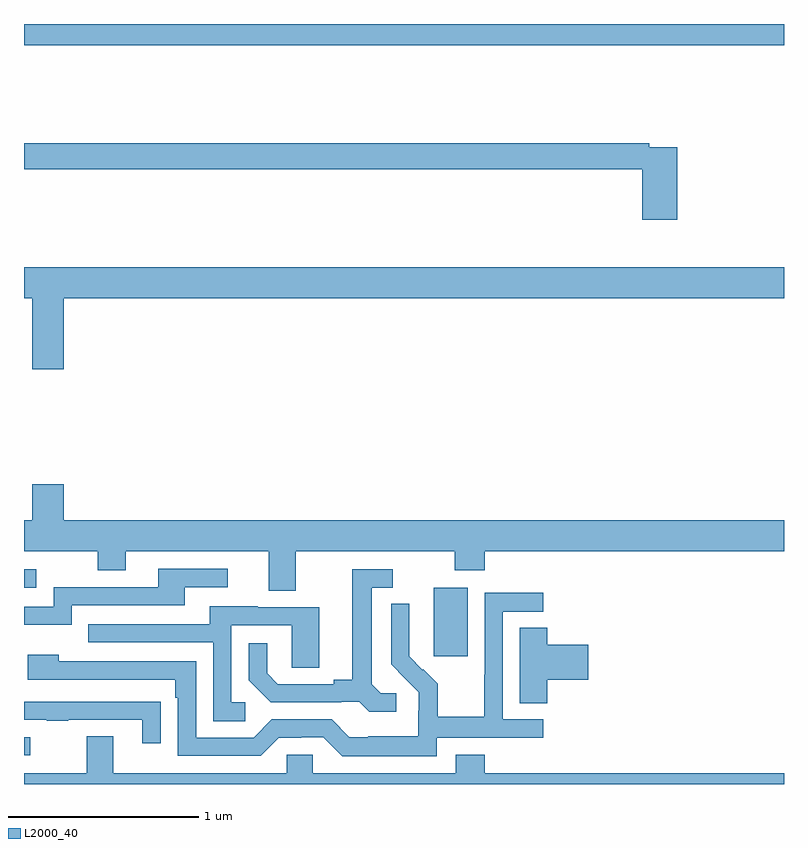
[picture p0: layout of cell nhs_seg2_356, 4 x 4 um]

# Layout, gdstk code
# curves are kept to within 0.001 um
import gdstk
lib = gdstk.Library(unit=1e-6, precision=1e-09)
def R(c, l, rs):  # rectangles x0, y0, x1, y1
    for r in rs: c.add(gdstk.rectangle(r[:2], r[2:], *l))
def P(c, l, *ps):  # polygons
    for p in ps: c.add(gdstk.Polygon(p, *l))
L2000_40 = (2000, 40)

nhs_seg2_356 = lib.new_cell('nhs_seg2_356')
R(nhs_seg2_356, L2000_40, [(129,591.951,129.034,592.047), (131.156,592.473,131.335,592.834), (129,592.833,129.064,592.929), (129,595.688,133,595.8)])
P(nhs_seg2_356, L2000_40, [(132.437,595.152),(132.29,595.152),(132.29,595.172),(129,595.172),(129,595.036),(132.254,595.036),(132.254,594.771),(132.437,594.771)],
  [(129.208,594.356),(133,594.356),(133,594.52),(129,594.52),(129,594.356),(129.044,594.356),(129.044,593.982),(129.208,593.982)],
  [(130.429,593.024),(131.266,593.024),(131.266,592.925),(131.426,592.925),(131.426,593.024),(133,593.024),(133,593.188),(129.208,593.188),(129.208,593.377),(129.044,593.377),(129.044,593.188),(129,593.188),(129,593.024),(129.388,593.024),(129.388,592.925),(129.535,592.925),(129.535,593.024),(130.289,593.024),(130.289,592.816),(130.429,592.816)],
  [(129.252,592.74),(129.847,592.74),(129.847,592.836),(130.072,592.836),(130.072,592.932),(129.707,592.932),(129.707,592.836),(129.156,592.836),(129.156,592.734),(129,592.734),(129,592.637),(129.252,592.637)],
  [(130.96,592.278),(130.878,592.278),(130.831,592.325),(130.831,592.833),(130.942,592.833),(130.942,592.929),(130.727,592.929),(130.727,592.349),(130.631,592.349),(130.631,592.326),(130.336,592.326),(130.279,592.383),(130.279,592.54),(130.182,592.54),(130.182,592.346),(130.298,592.23),(130.67,592.23),(130.67,592.233),(130.764,592.233),(130.816,592.181),(130.96,592.181)],
  [(131.172,592.044),(131.734,592.044),(131.734,592.14),(131.52,592.14),(131.52,592.707),(131.734,592.707),(131.734,592.806),(131.424,592.806),(131.424,592.376),(131.422,592.376),(131.422,592.153),(131.177,592.153),(131.177,592.327),(131.1,592.404),(131.097,592.401),(131.027,592.472),(131.028,592.748),(130.932,592.748),(130.932,592.43),(131.078,592.282),(131.078,592.185),(131.076,592.185),(131.076,592.051),(130.813,592.051),(130.813,592.047),(130.713,592.047),(130.62,592.14),(130.305,592.14),(130.209,592.044),(129.906,592.044),(129.906,592.446),(129.182,592.446),(129.182,592.48),(129.021,592.48),(129.021,592.35),(129.797,592.35),(129.797,592.253),(129.81,592.253),(129.81,591.948),(130.245,591.948),(130.341,592.044),(130.46,592.044),(130.46,592.047),(130.575,592.047),(130.675,591.947),(131.172,591.947)],
  [(130.165,592.23),(130.092,592.23),(130.092,592.635),(130.41,592.635),(130.41,592.411),(130.555,592.411),(130.555,592.731),(130.231,592.731),(130.231,592.735),(129.977,592.735),(129.977,592.641),(129.337,592.641),(129.337,592.545),(129.996,592.545),(129.996,592.129),(130.165,592.129)],
  [(131.753,592.349),(131.971,592.349),(131.971,592.532),(131.753,592.532),(131.753,592.622),(131.609,592.622),(131.609,592.225),(131.753,592.225)],
  [(129.719,592.232),(129.617,592.232),(129.617,592.233),(129,592.233),(129,592.137),(129.121,592.137),(129.121,592.132),(129.233,592.132),(129.233,592.137),(129.623,592.137),(129.623,592.014),(129.719,592.014)],
  [(133,591.856),(131.426,591.856),(131.426,591.955),(131.273,591.955),(131.273,591.856),(130.521,591.856),(130.521,591.954),(130.383,591.954),(130.383,591.856),(129.469,591.856),(129.469,592.051),(129.329,592.051),(129.329,591.856),(129,591.856),(129,591.8),(133,591.8)])

lib.write_gds('nhs_seg2_356.gds')
